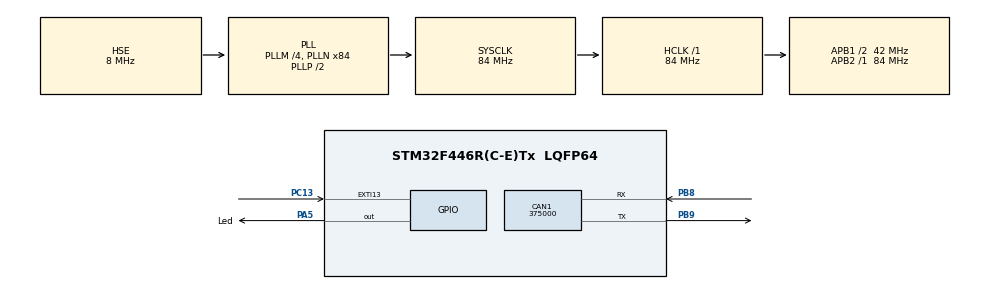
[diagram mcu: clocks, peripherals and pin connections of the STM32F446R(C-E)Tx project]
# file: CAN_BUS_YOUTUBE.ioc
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CAN1.ABOM=ENABLE
CAN1.BS1=CAN_BS1_4TQ
CAN1.BS2=CAN_BS2_2TQ
CAN1.CalculateBaudRate=375000
CAN1.CalculateTimeBit=2666.66
CAN1.CalculateTimeQuantum=380.95238095238096
CAN1.NART=ENABLE
Mcu.Family=STM32F4
Mcu.Name=STM32F446R(C-E)Tx
Mcu.Package=LQFP64
NVIC.CAN1_RX0_IRQn=true\:0\:0\:false\:false\:true\:true\:true
NVIC.CAN1_RX1_IRQn=true\:0\:0\:false\:false\:true\:true\:true
NVIC.CAN1_SCE_IRQn=true\:0\:0\:false\:false\:true\:true\:true
NVIC.CAN1_TX_IRQn=true\:0\:0\:false\:false\:true\:true\:true
NVIC.EXTI15_10_IRQn=true\:0\:0\:false\:false\:true\:true\:true
NVIC.PriorityGroup=NVIC_PRIORITYGROUP_0
PA5.GPIO_Label=Led
PA5.GPIO_PuPd=GPIO_PULLDOWN
PA5.Signal=GPIO_Output
PB8.Mode=CAN_Activate
PB8.Signal=CAN1_RX
PB9.Mode=CAN_Activate
PB9.Signal=CAN1_TX
PC13.GPIO_ModeDefaultEXTI=GPIO_MODE_IT_FALLING
PC13.Signal=GPXTI13
PC14-OSC32_IN.Mode=LSE-External-Oscillator
PC14-OSC32_IN.Signal=RCC_OSC32_IN
PC15-OSC32_OUT.Mode=LSE-External-Oscillator
PC15-OSC32_OUT.Signal=RCC_OSC32_OUT
PH0-OSC_IN.Mode=HSE-External-Oscillator
PH0-OSC_IN.Signal=RCC_OSC_IN
PH1-OSC_OUT.Mode=HSE-External-Oscillator
PH1-OSC_OUT.Signal=RCC_OSC_OUT
ProjectManager.HeapSize=0x200
ProjectManager.StackSize=0x400
ProjectManager.TargetToolchain=MDK-ARM V5.27
RCC.AHBFreq_Value=84000000
RCC.APB1CLKDivider=RCC_HCLK_DIV2
RCC.APB1Freq_Value=42000000
RCC.APB1TimFreq_Value=84000000
RCC.APB2Freq_Value=84000000
RCC.APB2TimFreq_Value=84000000
RCC.CortexFreq_Value=84000000
RCC.FLatency-AdvancedSettings=FLASH_LATENCY_2
RCC.HCLKFreq_Value=84000000
RCC.HSE_VALUE=8000000
RCC.HSI_VALUE=16000000
RCC.PLLM=4
RCC.PLLN=84
RCC.PLLSourceVirtual=RCC_PLLSOURCE_HSE
RCC.SYSCLKFreq_VALUE=84000000
RCC.SYSCLKSource=RCC_SYSCLKSOURCE_PLLCLK
RCC.USBFreq_Value=84000000
RCC.VCOOutputFreq_Value=168000000
board=NUCLEO-F446RE

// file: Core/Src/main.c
/* USER CODE BEGIN Header */
/**
  ******************************************************************************
  * @file           : main.c
  * @brief          : Main program body
  ******************************************************************************
  * @attention
  *
  * <h2><center>&copy; Copyright (c) 2021 STMicroelectronics.
  * All rights reserved.</center></h2>
  *
  * This software component is licensed by ST under BSD 3-Clause license,
  * the "License"; You may not use this file except in compliance with the
  * License. You may obtain a copy of the License at:
  *                        opensource.org/licenses/BSD-3-Clause
  *
  ******************************************************************************
  */
/* USER CODE END Header */
#include "main.h"

/* USER CODE BEGIN Includes */
#include <stdio.h>
#include <string.h>
#include <stdlib.h>
/* USER CODE END Includes */

CAN_HandleTypeDef hcan1;

/* USER CODE BEGIN PV */
CAN_FilterTypeDef Scanfilter;

CAN_RxHeaderTypeDef RxHeader;
CAN_TxHeaderTypeDef TxHeader;

uint32_t TxMailbox;

uint8_t TxData[5];
uint8_t RxData[5];

/* USER CODE END PV */

void SystemClock_Config(void);
static void MX_GPIO_Init(void);
static void MX_CAN1_Init(void);

int main(void)
{
  /* USER CODE BEGIN 1 */
		TxData[0]=0x01;
		TxData[1]=0x07;
		TxData[2]=0x06;
		TxData[3]=0x09;
		TxData[4]=0x05;
  /* USER CODE END 1 */

  /* MCU Configuration--------------------------------------------------------*/

  /* Reset of all peripherals, Initializes the Flash interface and the Systick. */
  HAL_Init();

  /* Configure the system clock */
  SystemClock_Config();

  /* Initialize all configured peripherals */
  MX_GPIO_Init();
  MX_CAN1_Init();
  /* USER CODE BEGIN 2 */
	HAL_CAN_ActivateNotification(&hcan1, CAN_IT_RX_FIFO0_MSG_PENDING|CAN_IT_RX_FIFO1_MSG_PENDING);
  /* USER CODE END 2 */

  /* Infinite loop */
  while (1)
  {

    /* USER CODE BEGIN 3 */
		if(RxData[0]==0x01)
		{
			HAL_GPIO_WritePin(GPIOA,GPIO_PIN_5,GPIO_PIN_SET);
		}
		if(RxData[0]==0x02)
		{
			HAL_GPIO_WritePin(GPIOA,GPIO_PIN_5,GPIO_PIN_RESET);
		}
  }
  /* USER CODE END 3 */
}

void SystemClock_Config(void)
{
  RCC_OscInitTypeDef RCC_OscInitStruct = {0};
  RCC_ClkInitTypeDef RCC_ClkInitStruct = {0};

  /** Configure the main internal regulator output voltage
  */
  __HAL_RCC_PWR_CLK_ENABLE();
  __HAL_PWR_VOLTAGESCALING_CONFIG(PWR_REGULATOR_VOLTAGE_SCALE3);
  /** Initializes the RCC Oscillators according to the specified parameters
  * in the RCC_OscInitTypeDef structure.
  */
  RCC_OscInitStruct.OscillatorType = RCC_OSCILLATORTYPE_HSE;
  RCC_OscInitStruct.HSEState = RCC_HSE_ON;
  RCC_OscInitStruct.PLL.PLLState = RCC_PLL_ON;
  RCC_OscInitStruct.PLL.PLLSource = RCC_PLLSOURCE_HSE;
  RCC_OscInitStruct.PLL.PLLM = 4;
  RCC_OscInitStruct.PLL.PLLN = 84;
  RCC_OscInitStruct.PLL.PLLP = RCC_PLLP_DIV2;
  RCC_OscInitStruct.PLL.PLLQ = 2;
  RCC_OscInitStruct.PLL.PLLR = 2;
  if (HAL_RCC_OscConfig(&RCC_OscInitStruct) != HAL_OK)
  {
    Error_Handler();
  }
  /** Initializes the CPU, AHB and APB buses clocks
  */
  RCC_ClkInitStruct.ClockType = RCC_CLOCKTYPE_HCLK|RCC_CLOCKTYPE_SYSCLK
                              |RCC_CLOCKTYPE_PCLK1|RCC_CLOCKTYPE_PCLK2;
  RCC_ClkInitStruct.SYSCLKSource = RCC_SYSCLKSOURCE_PLLCLK;
  RCC_ClkInitStruct.AHBCLKDivider = RCC_SYSCLK_DIV1;
  RCC_ClkInitStruct.APB1CLKDivider = RCC_HCLK_DIV2;
  RCC_ClkInitStruct.APB2CLKDivider = RCC_HCLK_DIV1;

  if (HAL_RCC_ClockConfig(&RCC_ClkInitStruct, FLASH_LATENCY_2) != HAL_OK)
  {
    Error_Handler();
  }
}

static void MX_CAN1_Init(void)
{

  hcan1.Instance = CAN1;
  hcan1.Init.Prescaler = 16;
  hcan1.Init.Mode = CAN_MODE_NORMAL;
  hcan1.Init.SyncJumpWidth = CAN_SJW_1TQ;
  hcan1.Init.TimeSeg1 = CAN_BS1_4TQ;
  hcan1.Init.TimeSeg2 = CAN_BS2_2TQ;
  hcan1.Init.TimeTriggeredMode = DISABLE;
  hcan1.Init.AutoBusOff = ENABLE;
  hcan1.Init.AutoWakeUp = DISABLE;
  hcan1.Init.AutoRetransmission = ENABLE;
  hcan1.Init.ReceiveFifoLocked = DISABLE;
  hcan1.Init.TransmitFifoPriority = DISABLE;
  if (HAL_CAN_Init(&hcan1) != HAL_OK)
  {
    Error_Handler();
  }
  /* USER CODE BEGIN CAN1_Init 2 */
	TxHeader.IDE=CAN_ID_STD;
	TxHeader.StdId=0x11;
	TxHeader.RTR=CAN_RTR_DATA;
	TxHeader.DLC=5;

	Scanfilter.FilterActivation=CAN_FILTER_ENABLE;
	Scanfilter.FilterBank=0;
	Scanfilter.FilterFIFOAssignment=CAN_FILTER_FIFO0;
	Scanfilter.FilterIdHigh=0x0000;
	Scanfilter.FilterIdLow=0x0000;
	Scanfilter.FilterMaskIdHigh=0x0000;
	Scanfilter.FilterMaskIdLow=0x0000;
	Scanfilter.FilterMode=CAN_FILTERMODE_IDMASK;
	Scanfilter.FilterScale=CAN_FILTERSCALE_32BIT;
	Scanfilter.SlaveStartFilterBank=14;
	if(HAL_CAN_ConfigFilter(&hcan1, &Scanfilter)!=HAL_OK)
	{
		Error_Handler();
	}

	if(HAL_CAN_Start(&hcan1)!=HAL_OK)
	{
		Error_Handler();
	}

  /* USER CODE END CAN1_Init 2 */

}

static void MX_GPIO_Init(void)
{
  GPIO_InitTypeDef GPIO_InitStruct = {0};

  /* GPIO Ports Clock Enable */
  __HAL_RCC_GPIOC_CLK_ENABLE();
  __HAL_RCC_GPIOH_CLK_ENABLE();
  __HAL_RCC_GPIOA_CLK_ENABLE();
  __HAL_RCC_GPIOB_CLK_ENABLE();

  /*Configure GPIO pin Output Level */
  HAL_GPIO_WritePin(Led_GPIO_Port, Led_Pin, GPIO_PIN_RESET);

  /*Configure GPIO pin : PC13 */
  GPIO_InitStruct.Pin = GPIO_PIN_13;
  GPIO_InitStruct.Mode = GPIO_MODE_IT_FALLING;
  GPIO_InitStruct.Pull = GPIO_NOPULL;
  HAL_GPIO_Init(GPIOC, &GPIO_InitStruct);

  /*Configure GPIO pin : Led_Pin */
  GPIO_InitStruct.Pin = Led_Pin;
  GPIO_InitStruct.Mode = GPIO_MODE_OUTPUT_PP;
  GPIO_InitStruct.Pull = GPIO_PULLDOWN;
  GPIO_InitStruct.Speed = GPIO_SPEED_FREQ_LOW;
  HAL_GPIO_Init(Led_GPIO_Port, &GPIO_InitStruct);

  /* EXTI interrupt init*/
  HAL_NVIC_SetPriority(EXTI15_10_IRQn, 0, 0);
  HAL_NVIC_EnableIRQ(EXTI15_10_IRQn);

}

/* USER CODE BEGIN 4 */
void HAL_CAN_RxFifo0MsgPendingCallback(CAN_HandleTypeDef *hcan)
{
	HAL_CAN_GetRxMessage(&hcan1, CAN_RX_FIFO0, &RxHeader, RxData);
}

/* USER CODE END 4 */

void Error_Handler(void)
{
  __disable_irq();
  while (1)
  {
  }
}

/************************ (C) COPYRIGHT STMicroelectronics *****END OF FILE****/
